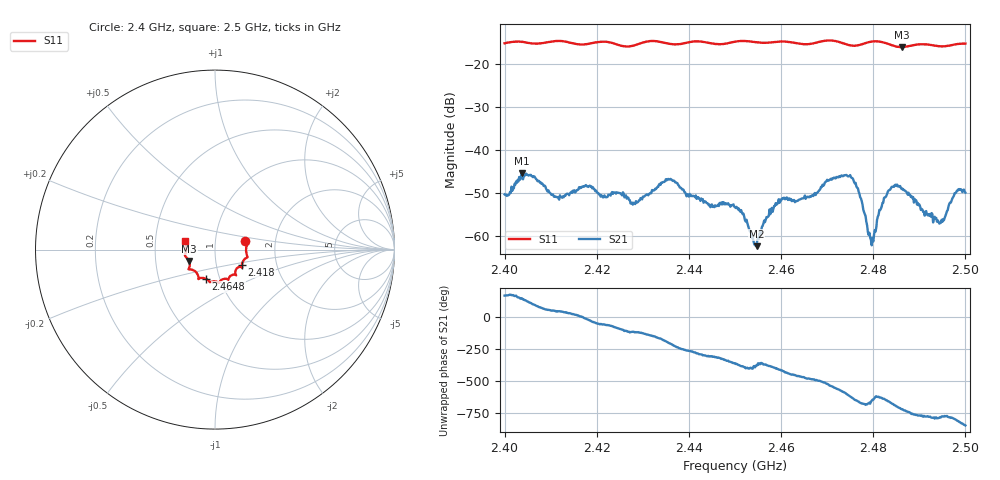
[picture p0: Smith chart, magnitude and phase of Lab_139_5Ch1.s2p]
# Hz S RI R 50
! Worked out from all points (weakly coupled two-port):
!   601 points, 2.4 GHz to 2.5 GHz, reference 50 ohm
!   highest |S21| = -45.29 dB at 2.4037 GHz (marker M1); lowest = -62.3 dB at 2.4547 GHz (marker M2)
!   lowest |S11| = -16.0 dB at 2.4862 GHz (marker M3), VSWR 1.37, Z = 37.1 - j4.82 ohm
!   |S11| at or under -10 dB: start of sweep to end of sweep
!   S12 and S22 are empty: the file has one direction only
!   S11 on the Smith chart (normalised r, x): 2.4 GHz: 1.40, +0.13; 2.418 GHz: 1.33, -0.23; 2.4648 GHz: 0.86, -0.29; 2.5 GHz: 0.71, +0.07
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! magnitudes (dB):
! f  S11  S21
! 2.4 GHz  -15.1  -50.3
! 2.4037 GHz  -14.8  -45.3
! 2.4113 GHz  -14.6  -50.9
! 2.4167 GHz  -15.4  -48.7
! 2.418 GHz  -15.3  -48.5
! 2.4278 GHz  -15.7  -52.6
! 2.4333 GHz  -14.7  -48.5
! 2.436 GHz  -15.3  -46.7
! 2.4448 GHz  -15.2  -52.9
! 2.45 GHz  -14.8  -53.2
! 2.4547 GHz  -14.9  -62.3
! 2.459 GHz  -14.8  -52.6
! 2.4648 GHz  -15.4  -51.2
! 2.4667 GHz  -15.2  -50.5
! 2.4752 GHz  -15.7  -46.3
! 2.477 GHz  -15.6  -50.1
! 2.4797 GHz  -14.7  -62.1
! 2.4833 GHz  -15.3  -49.4
! 2.4862 GHz  -16.0  -49.0
! 2.4943 GHz  -15.8  -57.0
! 2.4982 GHz  -15.3  -49.4
! 2.5 GHz  -15.2  -49.9
